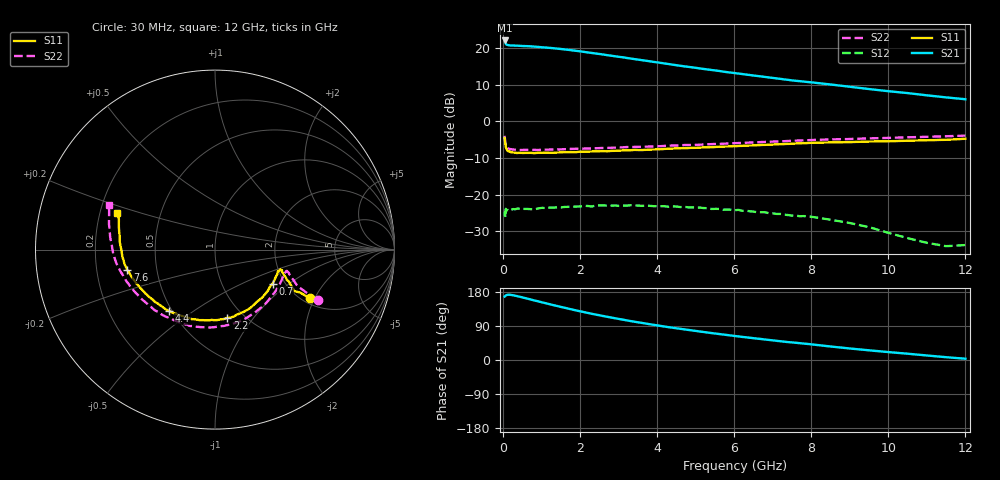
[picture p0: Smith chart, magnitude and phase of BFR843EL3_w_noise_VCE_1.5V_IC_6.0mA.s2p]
! Infineon Technologies  Discrete & RF Semiconductors
! BFR843EL3
! VCE =  1.5 V,  IC =  6.0 mA
! Common Emitter S-Parameters:  Aug 2013
# GHz  S  MA  R  50
!  f  S11  S21  S12  S22
! GHz  MAG  ANG  MAG  ANG  MAG  ANG  MAG  ANG
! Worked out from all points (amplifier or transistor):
!   103 points, 30 MHz to 12 GHz, reference 50 ohm
!   highest |S21| = 22.1 dB at 30 MHz (marker M1)
!   |S21| within 3 dB of that: start of sweep to 2.009 GHz
!   unconditionally stable (mu >= 1): 6.353 GHz to end of sweep
!   at 400 MHz: K = 0.99, MSG = 22.2 dB, |S12| = -23.8 dB
!   at 3.7 GHz: K = 0.79, MSG = 19.8 dB, |S12| = -23.0 dB
!   at 12 GHz: K = 4.56, MAG = 10.4 dB, |S12| = -33.8 dB
!   lowest NFmin = 0.89 dB at 450 MHz
!   S11 on the Smith chart (normalised r, x): 30 MHz: 2.19, -1.85; 700 MHz: 1.73, -0.76; 2.2 GHz: 0.84, -0.75; 4.4 GHz: 0.48, -0.40; 7.6 GHz: 0.34, -0.10; 12 GHz: 0.27, +0.17
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0.03  0.5972 -27.1  12.79 167.3  0.0511 32.9  0.6366 -26.0
0.04  0.5308 -26.8  12.18 168.2  0.0577 27.0  0.5684 -25.3
0.06  0.4475 -23.3  11.52 170.0  0.0642 22.3  0.4931 -23.2
0.1  0.4049 -19.7  11.12 171.9  0.0613 12.5  0.4424 -18.8
0.15  0.3911 -17.2  10.96 172.3  0.061 6.8  0.4229 -16.9
0.25  0.377 -17.8  10.9 170.9  0.0636 3.4  0.4134 -17.1
0.7  0.3729 -30.7  10.64 159.9  0.0634 3.3  0.4085 -32.0
1  0.3732 -41.3  10.32 152.2  0.0662 2.6  0.4104 -43.4
1.4  0.3765 -55.2  9.884 142.3  0.0673 1.5  0.415 -57.6
1.7  0.3817 -64.9  9.494 135.2  0.0683 0.5  0.4212 -67.7
2.1  0.3886 -77.1  8.914 126.2  0.0706 -0.7  0.4262 -80.5
2.2  0.3862 -79.8  8.759 124.0  0.07 -1.5  0.4281 -83.1
2.6  0.3931 -90.6  8.203 115.8  0.0714 -2.9  0.435 -94.0
3.2  0.4033 -104.4  7.384 104.6  0.0708 -6.1  0.4475 -108.1
4.1  0.4185 -121.3  6.301 89.6  0.0696 -11.6  0.4606 -125.0
4.4  0.427 -126.8  5.967 85.1  0.0693 -12.6  0.4691 -130.2
5.3  0.4444 -140.0  5.138 72.5  0.0653 -16.9  0.4871 -143.4
6.1  0.4625 -150.3  4.518 62.3  0.0621 -20.8  0.5076 -153.5
7.6  0.5013 -166.7  3.594 45.4  0.0518 -24.6  0.5475 -169.5
8.5  0.5179 -176.1  3.199 35.6  0.0455 -29.7  0.5687 -178.4
10.5  0.5457 168.5  2.442 16.6  0.0255 -24.7  0.6081 166.3
12  0.581 159.4  2.013 3.4  0.0205 13.2  0.6413 157.1
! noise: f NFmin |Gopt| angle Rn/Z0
0.45  0.89  0.14  15  0.14
0.9  0.89  0.15  33  0.14
1.5  0.93  0.16  47  0.14
1.9  0.95  0.16  51  0.14
2.4  0.97  0.17  64  0.13
3.5  1.01  0.18  85  0.13
5.5  1.09  0.22  121  0.11
8  1.18  0.31  161  0.08
10  1.25  0.41  206  0.05
